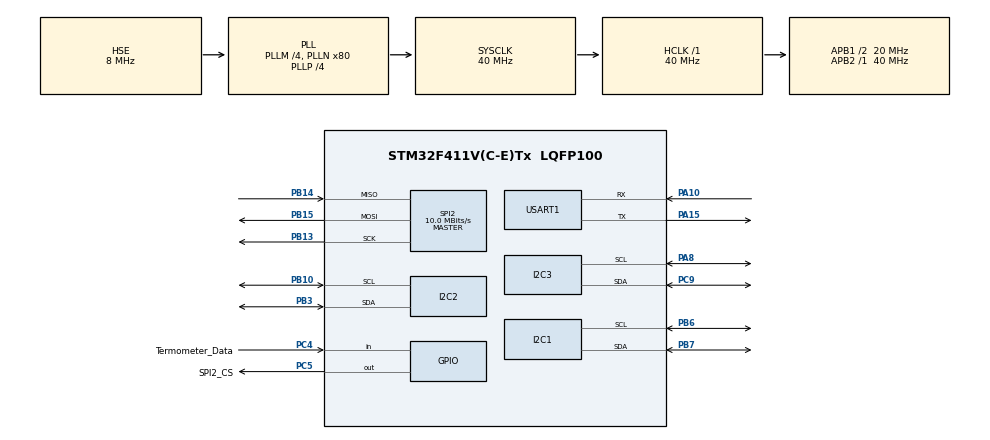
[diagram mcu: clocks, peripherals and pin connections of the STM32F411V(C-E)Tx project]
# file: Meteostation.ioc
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FATFS._MAX_SS=4096
FATFS._USE_LFN=1
Mcu.Family=STM32F4
Mcu.Name=STM32F411V(C-E)Tx
Mcu.Package=LQFP100
NVIC.PriorityGroup=NVIC_PRIORITYGROUP_4
NVIC.TIM1_TRG_COM_TIM11_IRQn=true\:0\:0\:false\:false\:true\:true
NVIC.TIM2_IRQn=true\:0\:0\:false\:false\:true\:true
NVIC.USART1_IRQn=true\:0\:0\:false\:false\:true\:true
PA10.Mode=Asynchronous
PA10.Signal=USART1_RX
PA13.Mode=Serial_Wire
PA13.Signal=SYS_JTMS-SWDIO
PA14.Mode=Serial_Wire
PA14.Signal=SYS_JTCK-SWCLK
PA15.Mode=Asynchronous
PA15.Signal=USART1_TX
PA8.Mode=I2C
PA8.Signal=I2C3_SCL
PB10.Mode=I2C
PB10.Signal=I2C2_SCL
PB13.Mode=Full_Duplex_Master
PB13.Signal=SPI2_SCK
PB14.Mode=Full_Duplex_Master
PB14.Signal=SPI2_MISO
PB15.Mode=Full_Duplex_Master
PB15.Signal=SPI2_MOSI
PB3.Mode=I2C
PB3.Signal=I2C2_SDA
PB6.Mode=I2C
PB6.Signal=I2C1_SCL
PB7.Mode=I2C
PB7.Signal=I2C1_SDA
PC14-OSC32_IN.Mode=LSE-External-Oscillator
PC14-OSC32_IN.Signal=RCC_OSC32_IN
PC15-OSC32_OUT.Mode=LSE-External-Oscillator
PC15-OSC32_OUT.Signal=RCC_OSC32_OUT
PC4.GPIO_Label=Termometer_Data
PC4.Signal=GPIO_Input
PC5.GPIO_Label=SPI2_CS
PC5.GPIO_Speed=GPIO_SPEED_FREQ_MEDIUM
PC5.Signal=GPIO_Output
PC9.Mode=I2C
PC9.Signal=I2C3_SDA
PH0\ -\ OSC_IN.Mode=HSE-External-Oscillator
PH0\ -\ OSC_IN.Signal=RCC_OSC_IN
PH1\ -\ OSC_OUT.Mode=HSE-External-Oscillator
PH1\ -\ OSC_OUT.Signal=RCC_OSC_OUT
ProjectManager.HeapSize=0x200
ProjectManager.StackSize=0x400
ProjectManager.TargetToolchain=SW4STM32
RCC.48MHZClocksFreq_Value=40000000
RCC.AHBFreq_Value=40000000
RCC.APB1CLKDivider=RCC_HCLK_DIV2
RCC.APB1Freq_Value=20000000
RCC.APB1TimFreq_Value=40000000
RCC.APB2Freq_Value=40000000
RCC.APB2TimFreq_Value=40000000
RCC.CortexFreq_Value=40000000
RCC.HCLKFreq_Value=40000000
RCC.HSE_VALUE=8000000
RCC.HSI_VALUE=16000000
RCC.PLLM=4
RCC.PLLN=80
RCC.PLLP=RCC_PLLP_DIV4
RCC.PLLSourceVirtual=RCC_PLLSOURCE_HSE
RCC.SYSCLKFreq_VALUE=40000000
RCC.SYSCLKSource=RCC_SYSCLKSOURCE_PLLCLK
RCC.VCOOutputFreq_Value=160000000
SPI2.CalculateBaudRate=10.0 MBits/s
SPI2.Direction=SPI_DIRECTION_2LINES
SPI2.Mode=SPI_MODE_MASTER
SPI2.VirtualType=VM_MASTER
TIM11.ClockDivision=TIM_CLOCKDIVISION_DIV1
TIM11.Period=10000
TIM11.Prescaler=39
TIM2.Period=10
TIM2.Prescaler=39999
USART1.VirtualMode=VM_ASYNC
VP_FATFS_VS_Generic.Mode=User_defined
VP_TIM11_VS_ClockSourceINT.Mode=Enable_Timer
VP_TIM2_VS_ClockSourceINT.Mode=Internal
board=custom

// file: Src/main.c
/**
  ******************************************************************************
  * @file           : main.c
  * @brief          : Main program body
  ******************************************************************************
  * This notice applies to any and all portions of this file
  * that are not between comment pairs USER CODE BEGIN and
  * USER CODE END. Other portions of this file, whether
  * inserted by the user or by software development tools
  * are owned by their respective copyright owners.
  *
  * Copyright (c) 2019 STMicroelectronics International N.V.
  * All rights reserved.
  *
  * Redistribution and use in source and binary forms, with or without
  * modification, are permitted, provided that the following conditions are met:
  *
  * 1. Redistribution of source code must retain the above copyright notice,
  *    this list of conditions and the following disclaimer.
  * 2. Redistributions in binary form must reproduce the above copyright notice,
  *    this list of conditions and the following disclaimer in the documentation
  *    and/or other materials provided with the distribution.
  * 3. Neither the name of STMicroelectronics nor the names of other
  *    contributors to this software may be used to endorse or promote products
  *    derived from this software without specific written permission.
  * 4. This software, including modifications and/or derivative works of this
  *    software, must execute solely and exclusively on microcontroller or
  *    microprocessor devices manufactured by or for STMicroelectronics.
  * 5. Redistribution and use of this software other than as permitted under
  *    this license is void and will automatically terminate your rights under
  *    this license.
  *
  * THIS SOFTWARE IS PROVIDED BY STMICROELECTRONICS AND CONTRIBUTORS "AS IS"
  * AND ANY EXPRESS, IMPLIED OR STATUTORY WARRANTIES, INCLUDING, BUT NOT
  * LIMITED TO, THE IMPLIED WARRANTIES OF MERCHANTABILITY, FITNESS FOR A
  * PARTICULAR PURPOSE AND NON-INFRINGEMENT OF THIRD PARTY INTELLECTUAL PROPERTY
  * RIGHTS ARE DISCLAIMED TO THE FULLEST EXTENT PERMITTED BY LAW. IN NO EVENT
  * SHALL STMICROELECTRONICS OR CONTRIBUTORS BE LIABLE FOR ANY DIRECT, INDIRECT,
  * INCIDENTAL, SPECIAL, EXEMPLARY, OR CONSEQUENTIAL DAMAGES (INCLUDING, BUT NOT
  * LIMITED TO, PROCUREMENT OF SUBSTITUTE GOODS OR SERVICES; LOSS OF USE, DATA,
  * OR PROFITS; OR BUSINESS INTERRUPTION) HOWEVER CAUSED AND ON ANY THEORY OF
  * LIABILITY, WHETHER IN CONTRACT, STRICT LIABILITY, OR TORT (INCLUDING
  * NEGLIGENCE OR OTHERWISE) ARISING IN ANY WAY OUT OF THE USE OF THIS SOFTWARE,
  * EVEN IF ADVISED OF THE POSSIBILITY OF SUCH DAMAGE.
  *
  ******************************************************************************
  */
#include "main.h"
#include "stm32f4xx_hal.h"
#include "fatfs.h"
#include "i2c.h"
#include "spi.h"
#include "tim.h"
#include "usart.h"
#include "gpio.h"

/* USER CODE BEGIN Includes */
#include "i2c.h"
#include "tim.h"
#include "usart.h"
#include "gpio.h"
#include "LCD2004.h"
#include <stdlib.h>
#include "dhtxx.h"
#include "us_timing.h"
#include "bmp280.h"
#include "math.h"
#include "ZS-042.h"
#include "sd.h"
#include "user_diskio.h"
/* USER CODE END Includes */

/* USER CODE BEGIN PV */
/* Private variables ---------------------------------------------------------*/
#define USE_TIM11_TIMING 1																								// declarate that we use 11 timer

volatile uint16_t Timer1 = 0;																							// resert the timer counter
volatile int USE_SEMIHOSTING = 0;																						// to use semihosting or another tool, install this variable to 1

BMP280_HandleTypedef bmp280;																							// variable for bmp280

FATFS SDFatFs;																											// variables for SD card
FATFS *fs;
FIL MyFile;
FRESULT res;

DHTxx_errors DHT_res;																									// variables for hygrometer
DHTxx_hygrometer_t hr11_1;

float pressure, temperature, humidity , total_BAR_tem = 0, total_BAR_press = 0;

int DHT_temp = 0, DHT_press = 0, pressed = 0, last_pressed = 0, number_of_measurements = 0;								// variables for using all sensors
int number_of_barometer = 150, last_read_time = 0, last_error_time = 0;
int last_id = 0;
uint8_t seconds=0, minutes = 0, hours = 0, day_of_week = 0, day_of_month = 0, month = 0, year = 0, sect[512], result, ip_first = 0, ip_second = 0, ip_third = 0, ip_fourth = 0;	// variables for using clock
uint8_t information[4] = {0, 0, 0, 0};
uint32_t byteswritten, bytesread;

extern char USERPath[4]; /* logical drive path */
char sentence[100];
/* USER CODE END PV */

void SystemClock_Config(void);

/* USER CODE BEGIN PFP */
/* Private function prototypes -----------------------------------------------*/

/* USER CODE END PFP */

/* USER CODE BEGIN 0 */

FRESULT ReadLongFile(void){
	/*Function for reading long file from SD card. Actually you can read short file.*/
  uint16_t i=0, i1=0;
  uint32_t ind=0;
  uint32_t f_size = MyFile.obj.objsize;
  if(USE_SEMIHOSTING){
	  printf("fsize: %lu\n", (unsigned long)f_size);
  }
  ind=0;
  do
  {
    if(f_size<512)
    {
      i1=f_size;
    }else{
      i1=512;
    }
    f_size-=i1;
    f_lseek(&MyFile,ind);
    f_read(&MyFile,sect,i1,(UINT *)&bytesread);
    for(i=0;i<bytesread;i++)
    {
    	if(USE_SEMIHOSTING){
    		printf("%c", (char)(sect[i]));
    	}
    }
    ind+=i1;
  }while(f_size>0);
  if(USE_SEMIHOSTING){
	  printf("\n");
  }
  return FR_OK;
}

void WriteLongFile(const char* sentence){
	/*Function for writing long files from SD card. At start it check your SD card, then search your file. If on
	 * SD card no file with input name, then it will create it. At finish it close file.*/
	if(f_mount(&SDFatFs,(TCHAR const*)USERPath,0)!=FR_OK)
	  {
	    Error_Handler();
	  }else{
			if(f_open(&MyFile,"RESULT.TXT", FA_OPEN_APPEND | FA_WRITE)!=FR_OK)
			{
			  Error_Handler();
			}else{
			  res = f_write(&MyFile, sentence, strlen(sentence), (void*)&byteswritten);
			  if((byteswritten==0)||(res!=FR_OK))
			  {
				Error_Handler();
			  }
			  f_close(&MyFile);
			  f_mount(&SDFatFs,(TCHAR const*)USERPath,0);
			}
	  }
}

void init_timing()
{
	#ifdef  USE_HAL_DELAY_AND_ASM
	 return;
	#elif defined USE_DWT_TIMING
	 DWT_Init();
	#elif defined USE_TIM11_TIMING
	 TIM11_reinit();
	#else
	#error "Unknown timing method."
	#endif
}

void fullpower(){
	/* It start FULL POWER MODE. BMP280 turn on normal mode, I2C display turn on backlighting.
	 * And change number of reading data from BMP280 from 15 to 150. Write information, that you turn on mode on SD card.*/
	LCD_PowerOn();
	LCD_NOPOWER_SAVING_MODE();
	bmp280.params.mode = BMP280_MODE_NORMAL;
	number_of_barometer = 150;
	bmp280_init_default_params(&bmp280.params);
	bmp280.addr = 0x76;
	bmp280.i2c = &hi2c2;
    if (!bmp280_init(&bmp280, &bmp280.params)) {
    	Array_Clear_third_and_fourth_rows();
	    LCD_SendString(2, 0, "BMP280 initialization failed");
	    LCD_Print();
	}
    if(disk_status(SDFatFs.drv) != STA_NOINIT && res == FR_OK){
		sprintf(sentence, "FuLL POWER MODE enabled");
		WriteLongFile(sentence);
    }
}

void lowpower(){
	/* It start LOW POWER MODE. BMP280 turn on forced mode, I2C display turn off backlighting.
	 * And change number of reading data from BMP280 from 150 to 15. Write information, that you turn on mode on SD card. */
	LCD_POWER_SAVING_MODE();
	bmp280.params.mode = BMP280_MODE_FORCED;
	number_of_barometer = 15;
	bmp280_init_default_params(&bmp280.params);
    bmp280.addr = 0x76;
    bmp280.i2c = &hi2c2;
    if (!bmp280_init(&bmp280, &bmp280.params)) {
    	Array_Clear_third_and_fourth_rows();
		LCD_SendString(2, 0, "BMP280 initialization failed");
		LCD_Print();
    }
    if(disk_status(SDFatFs.drv) != STA_NOINIT && res == FR_OK){
		sprintf(sentence, "LOW POWER MODE enabled");
		WriteLongFile(sentence);
    }
}

void poweroff(){
	/* It power off meteostation, except WIFI module. BMP280 turn on sleep mode, I2C display turn off backlighting.
	 * Write information, that you turn on mode on SD card. */
	LCD_PowerOff();
	bmp280.params.mode = BMP280_MODE_SLEEP;
	bmp280_init_default_params(&bmp280.params);
	bmp280.addr = 0x76;
	bmp280.i2c = &hi2c2;
	if (!bmp280_init(&bmp280, &bmp280.params)) {
		Array_Clear_third_and_fourth_rows();
	    LCD_SendString(2, 0, "BMP280 initialization failed");
	    LCD_Print();
	}
	if(disk_status(SDFatFs.drv) != STA_NOINIT && res == FR_OK){
		sprintf(sentence, "Meteorological is powered off");
		WriteLongFile(sentence);
	}
}

void DHT_Error(char *str){
	/* Print sentence on I2C display, that hygrometer isn`t ok. */
	Array_Clear_second_row();
	LCD_SendString(1, 0, str);
	LCD_Print();
}

void TransmitBarometerData(int temperatureG, int humidity, float pressure, float temperatureB){
	/* Transmit all possible available data to I2C display, WIFI module and  SD card. To send data to WIFI module it cut data. */
	void TransmitMiniData(int id, int value, int CRF){
		uint8_t buffer[3] = {id, (uint8_t)value, (uint8_t)CRF};
		HAL_UART_Transmit(&huart1, buffer, sizeof(buffer), HAL_MAX_DELAY);
	}
	LCD_SendString(2, 0, "Pressure:");
	LCD_SendFloat(2, 10, pressure);
	LCD_SendString(3, 0, "Temperature:");
	LCD_SendFloat(3, 13, temperatureB);
	LCD_SendString(2, 18, "Pa");
	LCD_SendString(3, 18, " C");
	LCD_Print();
	int first_temp = temperatureG/10;
	int second_temp = (temperatureG - first_temp * 10) / 1;
	int first_hum = humidity/10;
	int second_hum = (humidity - first_hum * 10) / 1;
	int first_two = pressure / 10000;
	int second_two = (pressure - first_two * 10000) / 100;
	if(second_two < 10){
		second_two *= 10;
	}
	int third = (pressure - first_two * 10000 - second_two * 100) / 1;
	if(third < 10){
		third *= 10;
	}
	int after_coma = ((pressure - first_two * 10000 - second_two * 100 - third) * 100);
	int first_temperature = temperatureB / 1;
	int second_temperature = (first_temperature - temperatureB) * 100;
	TransmitMiniData(0, first_temperature, first_temperature);
	TransmitMiniData(1, second_temp, second_temp);
	TransmitMiniData(2, first_hum, first_hum);
	TransmitMiniData(3, second_hum, second_hum);
	TransmitMiniData(4, first_two, first_two);
	TransmitMiniData(5, second_two, second_two);
	TransmitMiniData(6, third, third);
	TransmitMiniData(7, after_coma, after_coma);
	TransmitMiniData(8, first_temperature, first_temperature);
	TransmitMiniData(9, second_temperature, second_temperature);
	TransmitMiniData(10, seconds, seconds);
	TransmitMiniData(11, minutes, minutes);
	TransmitMiniData(12, hours, hours);
	TransmitMiniData(13, day_of_week, day_of_week);
	TransmitMiniData(14, day_of_month, day_of_month);
	TransmitMiniData(15, month, month);
	TransmitMiniData(16, year, year);

	if(disk_status(SDFatFs.drv) != STA_NOINIT && res == FR_OK){
		sprintf(sentence, "\tBarometer readings:\n\t\tTemperature: %f C\n\t\tPressure: %f Pa\n", total_BAR_tem, total_BAR_press);
		WriteLongFile(sentence);
	}
}

void BMP_Error(BMP280_HandleTypedef* bmp280){
	/* Write information that Baramoter is disconnected. */
	Array_Clear_third_and_fourth_rows();
	LCD_SendString(2, 0, "Key: Temperature/pressure reading failed");
	bmp280_init_default_params(&bmp280->params);
	(*bmp280).addr = 0x76;
	(*bmp280).i2c = &hi2c2;
	bmp280_init(bmp280, &bmp280->params);
	LCD_Print();
	if ((HAL_GetTick() - last_error_time) >= 1000){
		if(disk_status(SDFatFs.drv) != STA_NOINIT && res == FR_OK){
			sprintf(sentence, "\tWarning: No Barometer Connection!\n");
			WriteLongFile(sentence);
		}
		last_error_time = HAL_GetTick();
	}
}

char* Str_day_of_week(int number){
	/* Change from number type day of week to String */
	switch(number){
	  case 1: return "Monday";
	  case 2: return "Tuesday";
	  case 3: return "Wednesday";
	  case 4: return "Thursday";
	  case 5: return "Friday";
	  case 6: return "Saturday";
	  case 7: return "Sunday";
	  default: return "Unknown day!";
	  }
}

void clear_sentence(char* sentence){
	for(int index = 0; index < 100; index++){
		  sentence[index] = ' ';
	  }
}

void RTC_WriteData(){
	/* Write time to I2C display and SD card. */
	RTC_ReadData(&seconds, &minutes, &hours, &day_of_week, &day_of_month, &month, &year);
	last_read_time = HAL_GetTick();
	LCD_PrintRTC(seconds, minutes, hours, day_of_week, day_of_month, month, year);
	clear_sentence(sentence);
	if(disk_status(SDFatFs.drv) != STA_NOINIT && res == FR_OK){
		sprintf(sentence, "\tData: %d:%d:%d, %s, %d/%d/20%d\n", hours, minutes, seconds, Str_day_of_week(day_of_week), day_of_month, month, year);
		WriteLongFile(sentence);
	}
}

void WritetHygrometerData(){
	Array_Clear_second_row();
	DHT_temp = get_temperature_DHTxx(&hr11_1);
	DHT_press = get_humidity_DHTxx(&hr11_1);
	clear_sentence(sentence);
	if(disk_status(SDFatFs.drv) != STA_NOINIT && res == FR_OK){
		sprintf(sentence, "\tHygrometer readings:\n\t\tTemperature: %d C\n\t\tHumidity: %d %%\n", (int)DHT_temp/10, (int)DHT_press/10);
		WriteLongFile(sentence);
	}
	LCD_SendInt(1, 10, DHT_press/10, 10);
	LCD_SendString(1, 0, "Humidity:");
	LCD_SendString(1, 13, "%");
	LCD_Print();
}

void HygrometerCSError(){
	DHT_Error("Key: Checksum ERROR");
	if(disk_status(SDFatFs.drv) != STA_NOINIT && res == FR_OK){
		sprintf(sentence, "\tWarning: Hygrometer Checksum ERROR!\n");
		WriteLongFile(sentence);
	}
}

void HygrometerNOConnection(){
	DHT_Error("Key: NO CONNECTION");
	if(disk_status(SDFatFs.drv) != STA_NOINIT && res == FR_OK){
		sprintf(sentence, "\tWarning: Hygrometer NO CONNECTION!\n");
		WriteLongFile(sentence);
	}
}

void CheckAvailableData(){
	HAL_UART_Receive(&huart1, information, 4, 1);
	uint8_t id = information[0];
	uint8_t CRF_id = information[1];
	uint8_t value = information[2];
	uint8_t CRF = information[3];
	if(id == CRF_id){
		if (id <= 1){
			pressed = value;
			if (last_pressed != pressed){
				  switch(pressed){
					  case 0: fullpower(); break;
					  case 1: lowpower(); break;
					  case 2: poweroff(); break;
				  }
				  last_pressed = pressed;
			}
		}else{
			if(id != last_id){
				RTC_ReadData(&seconds, &minutes, &hours, &day_of_week, &day_of_month, &month, &year);
				 if(value == CRF){
					switch(id){
						case 2: year = value; break;
						case 3: month = value; break;
						case 4: day_of_month = value; break;
						case 5: hours = value; break;
						case 6: minutes = value; break;
						case 7: seconds = value; break;
						case 8: day_of_week = value; break;
						case 9: ip_first = value; break;
						case 10: ip_second = value; break;
						case 11: ip_third = value; break;
						case 12: ip_fourth = value; break;
					}
				 }
				 RTC_SetData(seconds, minutes, hours, day_of_week, day_of_month, month, year);
				 last_id = id;
			}
		}
	}
}
/* USER CODE END 0 */

int main(void)
{
  /* USER CODE BEGIN 1 */
  if(USE_SEMIHOSTING){
	  extern void initialise_monitor_handles(void);
	  initialise_monitor_handles();
  }
  /* USER CODE END 1 */

  /* MCU Configuration----------------------------------------------------------*/

  /* Reset of all peripherals, Initializes the Flash interface and the Systick. */
  HAL_Init();

  /* Configure the system clock */
  SystemClock_Config();

  /* Initialize all configured peripherals */
  MX_GPIO_Init();
  MX_I2C1_Init();
  MX_I2C2_Init();
  MX_TIM11_Init();
  MX_USART1_UART_Init();
  MX_I2C3_Init();
  MX_SPI2_Init();
  MX_TIM2_Init();
  MX_FATFS_Init();
  /* USER CODE BEGIN 2 */

  /* Initialize all user configured peripherals */
  bmp280_init_default_params(&bmp280.params);
  bmp280.addr = 0x76;
  bmp280.i2c = &hi2c2;
  bmp280_init(&bmp280, &bmp280.params);
  LCD_Init(0x27<<1, hi2c1);
  LCD_PowerOn();
  init_timing();
  HAL_TIM_Base_Start_IT(&htim2);
  init_DHTxx(&hr11_1, DHT11, GPIO_PIN_4, GPIOC);
  HAL_Delay(ms_before_first_read(&hr11_1));
  Array_Clear();
  disk_initialize(SDFatFs.drv);
  clear_sentence(sentence);
  if (!bmp280_init(&bmp280, &bmp280.params)) {
	  BMP_Error(&bmp280);
  }
  if(disk_status(SDFatFs.drv) != STA_NOINIT){
	  sprintf(sentence, "Results of work of the meteorological station:\n");
	  WriteLongFile(sentence);
  }
  /* USER CODE END 2 */

  /* Infinite loop */
  /* USER CODE BEGIN WHILE */
  int start_time = HAL_GetTick();
  while (1)
  {
	  CheckAvailableData();

	  /* Check if there time to read data from different sensors. */
	  if(pressed != 2){
		  if((HAL_GetTick() - start_time) > 10000){
			  if((HAL_GetTick() - last_read_time) > 1000){
				  RTC_WriteData();
			  }
		  }else{
			  Array_Clear_first_row();
			  LCD_SendInt(0, 0, ip_first, 10);
			  LCD_SendString(0, 3, ".");
			  LCD_SendInt(0, 4, ip_second, 10);
			  LCD_SendString(0, 7, ".");
			  LCD_SendInt(0, 8, ip_third, 10);
			  LCD_SendString(0, 10, ".");
			   LCD_SendInt(0, 11, ip_fourth, 10);
			  LCD_Print();
		  }
		  if(ms_before_next_read(&hr11_1) >= 2000){
			  /* Read data from hygrometer. */
			  DHT_res = read_raw_DHTxx(&hr11_1, 0);
			  if (DHT_res==DHTXX_OK)
			  {
				  WritetHygrometerData();
			  }
			  if (DHT_res==DHTXX_CS_ERROR)
			  {
				  HygrometerCSError();
			  }
			  if (DHT_res==DHTXX_NO_CONN)
			  {
				  HygrometerNOConnection();
			  }
		  }
		    if(bmp_ms_before_next_read(&bmp280) > (1000 / number_of_barometer)){
				  /* Read data from barometer. */
				if (!bmp280_read_float(&bmp280, &temperature, &pressure, &humidity)) {
					BMP_Error(&bmp280);

				}else{
					if (number_of_measurements < number_of_barometer){
						total_BAR_tem += temperature;
						total_BAR_press += pressure;
						number_of_measurements++;
					}else{
						Array_Clear_third_and_fourth_rows();
						total_BAR_tem = total_BAR_tem / number_of_measurements;
						total_BAR_press = total_BAR_press / number_of_measurements;
						TransmitBarometerData(DHT_temp, DHT_press, total_BAR_press, total_BAR_tem);
						total_BAR_tem = 0;
						total_BAR_press = 0;
						number_of_measurements = 0;
					}
				}
		    }
	  }
  /* USER CODE END WHILE */

  }

}

void SystemClock_Config(void)
{

  RCC_OscInitTypeDef RCC_OscInitStruct;
  RCC_ClkInitTypeDef RCC_ClkInitStruct;

    /**Configure the main internal regulator output voltage
    */
  __HAL_RCC_PWR_CLK_ENABLE();

  __HAL_PWR_VOLTAGESCALING_CONFIG(PWR_REGULATOR_VOLTAGE_SCALE1);

    /**Initializes the CPU, AHB and APB busses clocks
    */
  RCC_OscInitStruct.OscillatorType = RCC_OSCILLATORTYPE_HSE;
  RCC_OscInitStruct.HSEState = RCC_HSE_ON;
  RCC_OscInitStruct.PLL.PLLState = RCC_PLL_ON;
  RCC_OscInitStruct.PLL.PLLSource = RCC_PLLSOURCE_HSE;
  RCC_OscInitStruct.PLL.PLLM = 4;
  RCC_OscInitStruct.PLL.PLLN = 80;
  RCC_OscInitStruct.PLL.PLLP = RCC_PLLP_DIV4;
  RCC_OscInitStruct.PLL.PLLQ = 4;
  if (HAL_RCC_OscConfig(&RCC_OscInitStruct) != HAL_OK)
  {
    _Error_Handler(__FILE__, __LINE__);
  }

    /**Initializes the CPU, AHB and APB busses clocks
    */
  RCC_ClkInitStruct.ClockType = RCC_CLOCKTYPE_HCLK|RCC_CLOCKTYPE_SYSCLK
                              |RCC_CLOCKTYPE_PCLK1|RCC_CLOCKTYPE_PCLK2;
  RCC_ClkInitStruct.SYSCLKSource = RCC_SYSCLKSOURCE_PLLCLK;
  RCC_ClkInitStruct.AHBCLKDivider = RCC_SYSCLK_DIV1;
  RCC_ClkInitStruct.APB1CLKDivider = RCC_HCLK_DIV2;
  RCC_ClkInitStruct.APB2CLKDivider = RCC_HCLK_DIV1;

  if (HAL_RCC_ClockConfig(&RCC_ClkInitStruct, FLASH_LATENCY_1) != HAL_OK)
  {
    _Error_Handler(__FILE__, __LINE__);
  }

    /**Configure the Systick interrupt time
    */
  HAL_SYSTICK_Config(HAL_RCC_GetHCLKFreq()/1000);

    /**Configure the Systick
    */
  HAL_SYSTICK_CLKSourceConfig(SYSTICK_CLKSOURCE_HCLK);

  /* SysTick_IRQn interrupt configuration */
  HAL_NVIC_SetPriority(SysTick_IRQn, 0, 0);
}

void _Error_Handler(char *file, int line)
{
  while(1)
  {
  }
}

/************************ (C) COPYRIGHT STMicroelectronics *****END OF FILE****/
